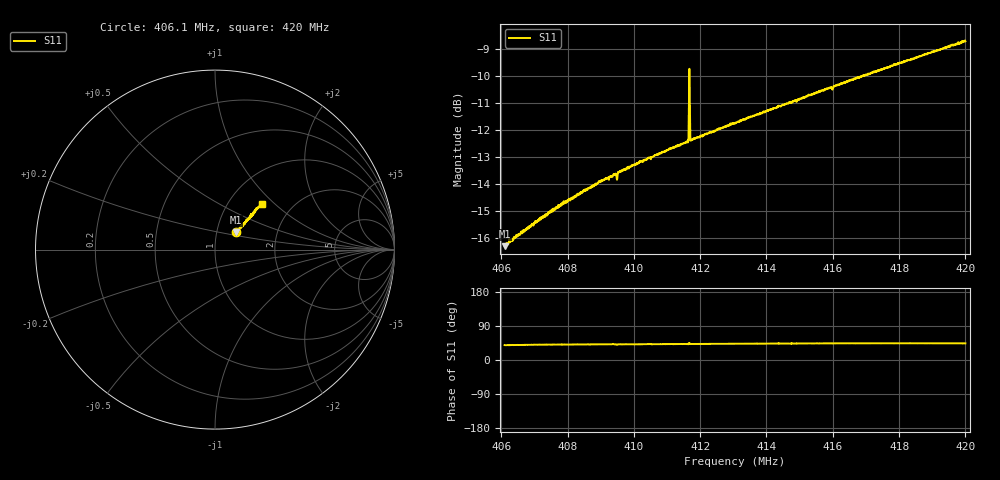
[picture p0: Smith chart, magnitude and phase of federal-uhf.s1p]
! Calibrated averaged scanner-service zoom
# Hz S RI R 50
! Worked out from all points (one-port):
!   2001 points, 406.1 MHz to 420 MHz, reference 50 ohm
!   lowest |S11| = -16.3 dB at 406.11 MHz (marker M1), VSWR 1.36, Z = 62.1 + j12.3 ohm
!   |S11| at or under -10 dB: start of sweep to 411.67 MHz; 411.68 MHz to 416.89 MHz (5.213 MHz wide, 1.26 % of centre)
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4.061e8  0.1185 0.0969
4.061139e8  0.1183 0.0969
4.071772e8  0.1308 0.1108
4.078375e8  0.1385 0.1196
4.089982e8  0.1515 0.1332
4.093874e8  0.1547 0.139
4.094846e8  0.156 0.1309
4.095472e8  0.1573 0.1392
4.09575e8  0.1576 0.1396
4.102074e8  0.1647 0.1454
4.113125e8  0.1743 0.1571
4.115766e8  0.1771 0.1592
4.115905e8  0.1763 0.1602
4.116114e8  0.1777 0.1609
4.116252e8  0.1776 0.1585
4.117017e8  0.1807 0.1643
4.117226e8  0.1778 0.1622
4.117295e8  0.1777 0.1618
4.117434e8  0.1782 0.1622
4.117573e8  0.178 0.1629
4.117642e8  0.1779 0.1622
4.117782e8  0.1785 0.1623
4.1305e8  0.1889 0.1758
4.147875e8  0.2057 0.1951
4.159898e8  0.2163 0.2055
4.16525e8  0.2232 0.2158
4.182625e8  0.2432 0.2355
4.2e8  0.2639 0.2547
